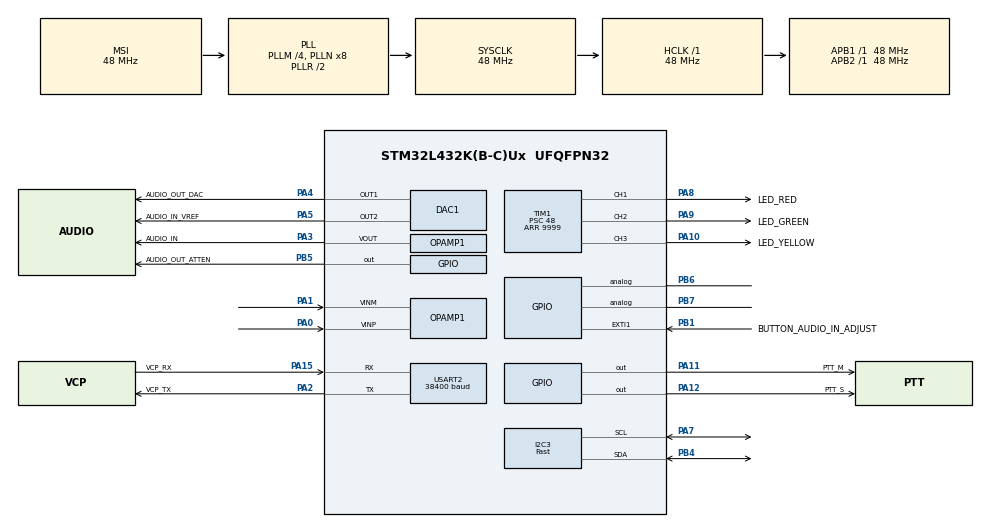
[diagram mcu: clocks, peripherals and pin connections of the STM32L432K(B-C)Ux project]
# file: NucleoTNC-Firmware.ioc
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ADC1.Channel-0\#ChannelRegularConversion=ADC_CHANNEL_8
ADC1.ClockPrescaler=ADC_CLOCK_ASYNC_DIV1
ADC1.ContinuousConvMode=DISABLE
ADC1.DMAContinuousRequests=ENABLE
ADC1.DataAlign=ADC_DATAALIGN_RIGHT
ADC1.DiscontinuousConvMode=DISABLE
ADC1.EOCSelection=ADC_EOC_SINGLE_CONV
ADC1.EnableAnalogWatchDog1=false
ADC1.EnableAnalogWatchDog2=false
ADC1.EnableAnalogWatchDog3=false
ADC1.EnableInjectedConversion=DISABLE
ADC1.EnableRegularConversion=ENABLE
ADC1.ExternalTrigConv=ADC_EXTERNALTRIG_T6_TRGO
ADC1.ExternalTrigConvEdge=ADC_EXTERNALTRIGCONVEDGE_RISING
ADC1.LowPowerAutoWait=DISABLE
ADC1.NbrOfConversion=1
ADC1.NbrOfConversionFlag=1
ADC1.OffsetNumber-0\#ChannelRegularConversion=ADC_OFFSET_NONE
ADC1.Overrun=ADC_OVR_DATA_OVERWRITTEN
ADC1.OversamplingMode=ENABLE
ADC1.OversamplingStopReset=ADC_REGOVERSAMPLING_CONTINUED_MODE
ADC1.Rank-0\#ChannelRegularConversion=1
ADC1.Ratio=ADC_OVERSAMPLING_RATIO_16
ADC1.Resolution=ADC_RESOLUTION_12B
ADC1.RightBitShift=ADC_RIGHTBITSHIFT_2
ADC1.SamplingTime-0\#ChannelRegularConversion=ADC_SAMPLETIME_6CYCLES_5
ADC1.ScanConvMode=ADC_SCAN_DISABLE
ADC1.TriggeredMode=ADC_TRIGGEREDMODE_SINGLE_TRIGGER
ADC1.master=1
CRC.CRCLength=CRC_POLYLENGTH_16B
CRC.DefaultInitValueUse=DEFAULT_INIT_VALUE_DISABLE
CRC.DefaultPolynomialUse=DEFAULT_POLYNOMIAL_DISABLE
CRC.GeneratingPolynomial=X12+X5+X0
CRC.InitValue=0xFFFF
CRC.InputDataInversionMode=CRC_INPUTDATA_INVERSION_BYTE
DAC1.DAC_Channel-DAC_OUT2=DAC_CHANNEL_2
DAC1.DAC_Trigger-DAC_OUT1=DAC_TRIGGER_T7_TRGO
Dma.ADC1.5.Direction=DMA_PERIPH_TO_MEMORY
Dma.ADC1.5.Instance=DMA1_Channel1
Dma.ADC1.5.MemDataAlignment=DMA_MDATAALIGN_HALFWORD
Dma.ADC1.5.MemInc=DMA_MINC_ENABLE
Dma.ADC1.5.Mode=DMA_CIRCULAR
Dma.ADC1.5.PeriphDataAlignment=DMA_PDATAALIGN_HALFWORD
Dma.ADC1.5.PeriphInc=DMA_PINC_DISABLE
Dma.ADC1.5.Priority=DMA_PRIORITY_LOW
Dma.DAC_CH1.4.Direction=DMA_MEMORY_TO_PERIPH
Dma.DAC_CH1.4.Instance=DMA2_Channel4
Dma.DAC_CH1.4.MemDataAlignment=DMA_MDATAALIGN_HALFWORD
Dma.DAC_CH1.4.MemInc=DMA_MINC_ENABLE
Dma.DAC_CH1.4.Mode=DMA_CIRCULAR
Dma.DAC_CH1.4.PeriphDataAlignment=DMA_PDATAALIGN_HALFWORD
Dma.DAC_CH1.4.PeriphInc=DMA_PINC_DISABLE
Dma.DAC_CH1.4.Priority=DMA_PRIORITY_LOW
Dma.I2C3_RX.0.Direction=DMA_PERIPH_TO_MEMORY
Dma.I2C3_RX.0.Instance=DMA1_Channel3
Dma.I2C3_RX.0.MemDataAlignment=DMA_MDATAALIGN_BYTE
Dma.I2C3_RX.0.MemInc=DMA_MINC_ENABLE
Dma.I2C3_RX.0.Mode=DMA_NORMAL
Dma.I2C3_RX.0.PeriphDataAlignment=DMA_PDATAALIGN_BYTE
Dma.I2C3_RX.0.PeriphInc=DMA_PINC_DISABLE
Dma.I2C3_RX.0.Priority=DMA_PRIORITY_LOW
Dma.I2C3_TX.1.Direction=DMA_MEMORY_TO_PERIPH
Dma.I2C3_TX.1.Instance=DMA1_Channel2
Dma.I2C3_TX.1.MemDataAlignment=DMA_MDATAALIGN_BYTE
Dma.I2C3_TX.1.MemInc=DMA_MINC_ENABLE
Dma.I2C3_TX.1.Mode=DMA_NORMAL
Dma.I2C3_TX.1.PeriphDataAlignment=DMA_PDATAALIGN_BYTE
Dma.I2C3_TX.1.PeriphInc=DMA_PINC_DISABLE
Dma.I2C3_TX.1.Priority=DMA_PRIORITY_LOW
Dma.Request0=I2C3_RX
Dma.Request1=I2C3_TX
Dma.Request2=USART2_RX
Dma.Request3=USART2_TX
Dma.Request4=DAC_CH1
Dma.Request5=ADC1
Dma.USART2_RX.2.Direction=DMA_PERIPH_TO_MEMORY
Dma.USART2_RX.2.Instance=DMA1_Channel6
Dma.USART2_RX.2.MemDataAlignment=DMA_MDATAALIGN_BYTE
Dma.USART2_RX.2.MemInc=DMA_MINC_ENABLE
Dma.USART2_RX.2.Mode=DMA_NORMAL
Dma.USART2_RX.2.PeriphDataAlignment=DMA_PDATAALIGN_BYTE
Dma.USART2_RX.2.PeriphInc=DMA_PINC_DISABLE
Dma.USART2_RX.2.Priority=DMA_PRIORITY_LOW
Dma.USART2_TX.3.Direction=DMA_MEMORY_TO_PERIPH
Dma.USART2_TX.3.Instance=DMA1_Channel7
Dma.USART2_TX.3.MemDataAlignment=DMA_MDATAALIGN_BYTE
Dma.USART2_TX.3.MemInc=DMA_MINC_ENABLE
Dma.USART2_TX.3.Mode=DMA_NORMAL
Dma.USART2_TX.3.PeriphDataAlignment=DMA_PDATAALIGN_BYTE
Dma.USART2_TX.3.PeriphInc=DMA_PINC_DISABLE
Dma.USART2_TX.3.Priority=DMA_PRIORITY_LOW
FREERTOS.HEAP_NUMBER=3
FREERTOS.MEMORY_ALLOCATION=2
FREERTOS.Queues01=ioEventQueue,16,uint32_t,0,Static,ioEventQueueBuffer,ioEventQueueControlBlock;serialInputQueue,16,uint32_t,0,Static,serialInputQueueBuffer,serialInputQueueControlBlock;serialOutputQueue,16,uint32_t,0,Static,serialOutputQueueBuffer,serialOutputQueueControlBlock;audioInputQueue,8,uint32_t,0,Static,audioInputQueueBuffer,audioInputQueueControlBlock;hdlcInputQueue,3,uint32_t,0,Static,hdlcInputQueueBuffer,hdlcInputQueueControlBlock;hdlcOutputQueue,3,uint32_t,0,Static,hdlcOutputQueueBuffer,hdlcOutputQueueControlBlock;dacOutputQueue,128,uint8_t,0,Static,dacOutputQueueBuffer,dacOutputQueueControlBlock;adcInputQueue,8,uint32_t,0,Static,adcInputQueueBuffer,adcInputQueueControlBlock
FREERTOS.Tasks01=ioEventTask,-2,384,startIOEventTask,As weak,NULL,Static,ioEventTaskBuffer,ioEventTaskControlBlock;audioInputTask,1,512,startAudioInputTask,As external,NULL,Static,audioInputTaskBuffer,audioInputTaskControlBlock;modulatorTask,1,384,startModulatorTask,As external,NULL,Static,modulatorTaskBuffer,modulatorTaskControlBlock
FREERTOS.configCHECK_FOR_STACK_OVERFLOW=1
FREERTOS.configENABLE_FPU=1
FREERTOS.configQUEUE_REGISTRY_SIZE=16
FREERTOS.configTOTAL_HEAP_SIZE=3000
FREERTOS.configUSE_MALLOC_FAILED_HOOK=1
FREERTOS.configUSE_NEWLIB_REENTRANT=1
FREERTOS.configUSE_TICKLESS_IDLE=2
FREERTOS.configUSE_TIMERS=1
I2C3.I2C_Speed_Mode=I2C_Fast
I2C3.Timing=0x00300617
IWDG.Prescaler=IWDG_PRESCALER_64
Mcu.Family=STM32L4
Mcu.Name=STM32L432K(B-C)Ux
Mcu.Package=UFQFPN32
Mcu.UserConstants=EEPROM_PAGE_SIZE,32;EEPROM_CAPACITY,4096;EEPROM_WRITE_TIME,10;EEPROM_ADDRESS,0xA0
NVIC.DMA1_Channel1_IRQn=true\:5\:0\:false\:false\:true\:true\:false\:true\:true
NVIC.DMA1_Channel2_IRQn=true\:5\:0\:false\:false\:true\:true\:false\:true\:true
NVIC.DMA1_Channel3_IRQn=true\:5\:0\:false\:false\:true\:true\:false\:true\:true
NVIC.DMA1_Channel6_IRQn=true\:5\:0\:false\:false\:true\:true\:false\:true\:true
NVIC.DMA1_Channel7_IRQn=true\:5\:0\:false\:false\:true\:true\:false\:true\:true
NVIC.DMA2_Channel4_IRQn=true\:5\:0\:false\:false\:true\:true\:false\:true\:true
NVIC.EXTI1_IRQn=true\:5\:0\:false\:false\:true\:true\:true\:true\:true
NVIC.PriorityGroup=NVIC_PRIORITYGROUP_4
NVIC.TIM1_BRK_TIM15_IRQn=true\:5\:0\:false\:false\:true\:false\:false\:true\:true
NVIC.TIM1_UP_TIM16_IRQn=true\:5\:0\:false\:false\:true\:false\:true\:true\:true
NVIC.TIM2_IRQn=true\:15\:0\:false\:false\:true\:false\:false\:true\:true
NVIC.TIM6_DAC_IRQn=true\:10\:0\:true\:false\:true\:false\:true\:false\:true
NVIC.TIM7_IRQn=true\:10\:0\:true\:false\:true\:false\:true\:false\:true
NVIC.TimeBase=TIM2_IRQn
NVIC.TimeBaseIP=TIM2
NVIC.USART2_IRQn=true\:6\:0\:true\:false\:true\:true\:true\:true\:true
OPAMP1.PowerSupplyRange=OPAMP_POWERSUPPLY_HIGH
PA0.Mode=PGA Connected
PA0.Signal=OPAMP1_VINP
PA1.Mode=PGA Connected
PA1.Signal=OPAMP1_VINM
PA10.GPIO_Label=LED_YELLOW
PA10.GPIO_ModeDefaultOutputPP=GPIO_MODE_OUTPUT_OD
PA10.GPIO_ModeDefaultPP=GPIO_MODE_AF_OD
PA10.PinState=GPIO_PIN_SET
PA10.Signal=SharedStack_PA10
PA10.Stacked=true
PA11.GPIO_Label=PTT_M
PA11.Signal=GPIO_Output
PA12.GPIO_Label=PTT_S
PA12.Signal=GPIO_Output
PA13\ (JTMS-SWDIO).GPIO_Label=SWDIO
PA13\ (JTMS-SWDIO).Mode=Trace_Asynchronous_SW
PA13\ (JTMS-SWDIO).Signal=SYS_JTMS-SWDIO
PA14\ (JTCK-SWCLK).GPIO_Label=SWCLK
PA14\ (JTCK-SWCLK).Mode=Trace_Asynchronous_SW
PA14\ (JTCK-SWCLK).Signal=SYS_JTCK-SWCLK
PA15\ (JTDI).GPIO_Label=VCP_RX
PA15\ (JTDI).Mode=Asynchronous
PA15\ (JTDI).Signal=USART2_RX
PA2.GPIO_Label=VCP_TX
PA2.Mode=Asynchronous
PA2.Signal=USART2_TX
PA3.GPIO_Label=AUDIO_IN
PA3.Signal=SharedAnalog_PA3
PA4.GPIO_Label=AUDIO_OUT_DAC
PA4.Signal=COMP_DAC11_group
PA5.GPIO_Label=AUDIO_IN_VREF
PA5.Signal=COMP_DAC12_group
PA7.GPIO_Pu=GPIO_NOPULL
PA7.Mode=I2C
PA7.Signal=I2C3_SCL
PA8.GPIO_Label=LED_RED
PA8.GPIO_ModeDefaultOutputPP=GPIO_MODE_OUTPUT_OD
PA8.GPIO_ModeDefaultPP=GPIO_MODE_AF_OD
PA8.PinState=GPIO_PIN_SET
PA8.Signal=SharedStack_PA8
PA8.Stacked=true
PA9.GPIO_Label=LED_GREEN
PA9.GPIO_ModeDefaultOutputPP=GPIO_MODE_OUTPUT_OD
PA9.GPIO_ModeDefaultPP=GPIO_MODE_AF_OD
PA9.PinState=GPIO_PIN_SET
PA9.Signal=SharedStack_PA9
PA9.Stacked=true
PB1.GPIO_Label=BUTTON_AUDIO_IN_ADJUST
PB1.GPIO_ModeDefaultEXTI=GPIO_MODE_IT_FALLING
PB1.GPIO_PuPd=GPIO_PULLUP
PB1.Signal=GPXTI1
PB3\ (JTDO-TRACESWO).Mode=Trace_Asynchronous_SW
PB3\ (JTDO-TRACESWO).Signal=SYS_JTDO-SWO
PB4\ (NJTRST).GPIO_Pu=GPIO_NOPULL
PB4\ (NJTRST).Mode=I2C
PB4\ (NJTRST).Signal=I2C3_SDA
PB5.GPIO_Label=AUDIO_OUT_ATTEN
PB5.GPIO_ModeDefaultOutputPP=GPIO_MODE_OUTPUT_OD
PB5.PinState=GPIO_PIN_SET
PB5.Signal=GPIO_Output
PB6.Signal=GPIO_Analog
PB7.Signal=GPIO_Analog
PC14-OSC32_IN\ (PC14).Mode=LSE-External-Oscillator
PC14-OSC32_IN\ (PC14).Signal=RCC_OSC32_IN
PC15-OSC32_OUT\ (PC15).Mode=LSE-External-Oscillator
PC15-OSC32_OUT\ (PC15).Signal=RCC_OSC32_OUT
ProjectManager.HeapSize=0x200
ProjectManager.StackSize=0x400
ProjectManager.TargetToolchain=CMake
RCC.ADCCLockSelection=RCC_ADCCLKSOURCE_SYSCLK
RCC.ADCFreq_Value=48000000
RCC.AHBFreq_Value=48000000
RCC.APB1Freq_Value=48000000
RCC.APB1TimFreq_Value=48000000
RCC.APB2Freq_Value=48000000
RCC.APB2TimFreq_Value=48000000
RCC.CK48CLockSelection=RCC_USBCLKSOURCE_HSI48
RCC.CortexFreq_Value=48000000
RCC.HCLKFreq_Value=48000000
RCC.HSE_VALUE=8000000
RCC.HSI16_VALUE=16000000
RCC.HSI48_VALUE=48000000
RCC.HSI_VALUE=16000000
RCC.I2C3CLockSelection=RCC_I2C3CLKSOURCE_HSI
RCC.MSIClockRange=RCC_MSIRANGE_11
RCC.MSI_VALUE=48000000
RCC.PLLM=4
RCC.PLLMUL=RCC_PLLMUL_4
RCC.PLLSAI1N=24
RCC.PLLSAI1Q=RCC_PLLQ_DIV6
RCC.PLLSAI1R=RCC_PLLR_DIV4
RCC.PREFETCH_ENABLE=1
RCC.RTCClockSelection=RCC_RTCCLKSOURCE_LSE
RCC.SYSCLKFreq_VALUE=48000000
RCC.SYSCLKSource=RCC_SYSCLKSOURCE_PLLCLK
RCC.USART2CLockSelection=RCC_USART2CLKSOURCE_HSI
RCC.USBFreq_Value=48000000
RCC.VCOOutputFreq_Value=96000000
SH.COMP_DAC11_group.0=DAC1_OUT1,DAC_OUT1
SH.COMP_DAC12_group.0=DAC1_OUT2,DAC_OUT2
SH.SharedAnalog_PA3.0=ADC1_IN8
SH.SharedAnalog_PA3.1=OPAMP1_VOUT,PGA Connected
SH.SharedStack_PA10.0=TIM1_CH3,PWM Generation3 CH3
SH.SharedStack_PA8.0=TIM1_CH1,PWM Generation1 CH1
SH.SharedStack_PA9.0=TIM1_CH2,PWM Generation2 CH2
STMicroelectronics.X-CUBE-ALGOBUILD.1.4.0.LibraryCcDSPOoLibraryJjDSPOoLibrary=true
TIM1.Channel-PWM\ Generation1\ CH1=TIM_CHANNEL_1
TIM1.Channel-PWM\ Generation2\ CH2=TIM_CHANNEL_2
TIM1.Channel-PWM\ Generation3\ CH3=TIM_CHANNEL_3
TIM1.OCIdleState_1=TIM_OCIDLESTATE_SET
TIM1.OCIdleState_2=TIM_OCIDLESTATE_SET
TIM1.OCIdleState_3=TIM_OCIDLESTATE_SET
TIM1.OCPolarity_1=TIM_OCPOLARITY_LOW
TIM1.OCPolarity_2=TIM_OCPOLARITY_LOW
TIM1.OCPolarity_3=TIM_OCPOLARITY_LOW
TIM1.Period=9999
TIM1.Prescaler=48
TIM6.AutoReloadPreload=TIM_AUTORELOAD_PRELOAD_ENABLE
TIM6.Period=1817
TIM6.TIM_MasterOutputTrigger=TIM_TRGO_UPDATE
TIM7.AutoReloadPreload=TIM_AUTORELOAD_PRELOAD_ENABLE
TIM7.Period=1817
TIM7.TIM_MasterOutputTrigger=TIM_TRGO_UPDATE
USART2.BaudRate=38400
USART2.VirtualMode-Asynchronous=VM_ASYNC
VP_ADC1_OPAMP1_OUT.Mode=IN8-OPAMP1-Single-Ended
VP_CRC_VS_CRC.Mode=CRC_Activate
VP_FREERTOS_VS_CMSIS_V1.Mode=CMSIS_V1
VP_IWDG_VS_IWDG.Mode=IWDG_Activate
VP_RCC_LSE.Mode=CRS SYNC Source LSE
VP_RNG_VS_RNG.Mode=RNG_Activate
VP_RTC_VS_RTC_Activate.Mode=RTC_Enabled
VP_RTC_VS_RTC_Calendar.Mode=RTC_Calendar
VP_STMicroelectronics.X-CUBE-ALGOBUILD_VS_DSPOoLibraryJjLibrary_1.4.0_1.4.0.Mode=DSPOoLibraryJjLibrary
VP_SYS_VS_tim2.Mode=TIM2
VP_TIM1_VS_ClockSourceINT.Mode=Internal
VP_TIM6_VS_ClockSourceINT.Mode=Enable_Timer
VP_TIM7_VS_ClockSourceINT.Mode=Enable_Timer
board=NUCLEO-L432KC

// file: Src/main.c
/* USER CODE BEGIN Header */
/**
  ******************************************************************************
  * @file           : main.c
  * @brief          : Main program body
  ******************************************************************************
  * @attention
  *
  * Copyright (c) 2024 STMicroelectronics.
  * All rights reserved.
  *
  * This software is licensed under terms that can be found in the LICENSE file
  * in the root directory of this software component.
  * If no LICENSE file comes with this software, it is provided AS-IS.
  *
  ******************************************************************************
  */
/* USER CODE END Header */
#include "main.h"
#include "cmsis_os.h"

/* USER CODE BEGIN Includes */
#include "LEDIndicator.h"
#include "Log.h"
#include <stdint.h>
/* USER CODE END Includes */

ADC_HandleTypeDef hadc1;
DMA_HandleTypeDef hdma_adc1;

CRC_HandleTypeDef hcrc;

DAC_HandleTypeDef hdac1;
DMA_HandleTypeDef hdma_dac_ch1;

I2C_HandleTypeDef hi2c3;
DMA_HandleTypeDef hdma_i2c3_rx;
DMA_HandleTypeDef hdma_i2c3_tx;

IWDG_HandleTypeDef hiwdg;

OPAMP_HandleTypeDef hopamp1;

RNG_HandleTypeDef hrng;

RTC_HandleTypeDef hrtc;

TIM_HandleTypeDef htim1;
TIM_HandleTypeDef htim6;
TIM_HandleTypeDef htim7;

UART_HandleTypeDef huart2;
DMA_HandleTypeDef hdma_usart2_rx;
DMA_HandleTypeDef hdma_usart2_tx;

osThreadId ioEventTaskHandle;
uint32_t ioEventTaskBuffer[ 384 ];
osStaticThreadDef_t ioEventTaskControlBlock;
osThreadId audioInputTaskHandle;
uint32_t audioInputTaskBuffer[ 512 ];
osStaticThreadDef_t audioInputTaskControlBlock;
osThreadId modulatorTaskHandle;
uint32_t modulatorTaskBuffer[ 384 ];
osStaticThreadDef_t modulatorTaskControlBlock;
osMessageQId ioEventQueueHandle;
uint8_t ioEventQueueBuffer[ 16 * sizeof( uint32_t ) ];
osStaticMessageQDef_t ioEventQueueControlBlock;
osMessageQId serialInputQueueHandle;
uint8_t serialInputQueueBuffer[ 16 * sizeof( uint32_t ) ];
osStaticMessageQDef_t serialInputQueueControlBlock;
osMessageQId serialOutputQueueHandle;
uint8_t serialOutputQueueBuffer[ 16 * sizeof( uint32_t ) ];
osStaticMessageQDef_t serialOutputQueueControlBlock;
osMessageQId audioInputQueueHandle;
uint8_t audioInputQueueBuffer[ 8 * sizeof( uint32_t ) ];
osStaticMessageQDef_t audioInputQueueControlBlock;
osMessageQId hdlcInputQueueHandle;
uint8_t hdlcInputQueueBuffer[ 3 * sizeof( uint32_t ) ];
osStaticMessageQDef_t hdlcInputQueueControlBlock;
osMessageQId hdlcOutputQueueHandle;
uint8_t hdlcOutputQueueBuffer[ 3 * sizeof( uint32_t ) ];
osStaticMessageQDef_t hdlcOutputQueueControlBlock;
osMessageQId dacOutputQueueHandle;
uint8_t dacOutputQueueBuffer[ 128 * sizeof( uint8_t ) ];
osStaticMessageQDef_t dacOutputQueueControlBlock;
osMessageQId adcInputQueueHandle;
uint8_t adcInputQueueBuffer[ 8 * sizeof( uint32_t ) ];
osStaticMessageQDef_t adcInputQueueControlBlock;
/* USER CODE BEGIN PV */
/* Private variables ---------------------------------------------------------*/

char serial_number_64[13] = {0};
char error_message[80] __attribute__((section(".bss3"))) = {0};

/* USER CODE END PV */

void SystemClock_Config(void);
static void MX_GPIO_Init(void);
static void MX_DMA_Init(void);
static void MX_ADC1_Init(void);
static void MX_CRC_Init(void);
static void MX_DAC1_Init(void);
static void MX_OPAMP1_Init(void);
static void MX_RTC_Init(void);
static void MX_TIM6_Init(void);
static void MX_TIM7_Init(void);
static void MX_USART2_UART_Init(void);
static void MX_I2C3_Init(void);
static void MX_TIM1_Init(void);
static void MX_RNG_Init(void);
static void MX_IWDG_Init(void);
void startIOEventTask(void const * argument);
extern void startAudioInputTask(void const * argument);
extern void startModulatorTask(void const * argument);

/* USER CODE BEGIN PFP */
/* Private function prototypes -----------------------------------------------*/

/* USER CODE END PFP */

/* USER CODE BEGIN 0 */

/*
 * Same algorithm as here: https://github.com/libopencm3/libopencm3/blob/master/lib/stm32/desig.c
 */

void encode_serial_number()
{
    uint8_t *uid = (uint8_t *)UID_BASE;

    uint8_t serial[6];
    serial[0] = uid[11];
    serial[1] = uid[10] + uid[2];
    serial[2] = uid[9];
    serial[3] = uid[8] + uid[0];
    serial[4] = uid[7];
    serial[5] = uid[6];

    snprintf(
        serial_number_64,
        sizeof(serial_number_64),
        "%02X%02X%02X%02X%02X%02X",
        serial[0], serial[1], serial[2],
        serial[3], serial[4], serial[5]
    );
}

/* USER CODE END 0 */

int main(void)
{

  /* USER CODE BEGIN 1 */
  __HAL_DBGMCU_FREEZE_IWDG();
  /* USER CODE END 1 */

  /* MCU Configuration--------------------------------------------------------*/

  /* Reset of all peripherals, Initializes the Flash interface and the Systick. */
  HAL_Init();

  /* USER CODE BEGIN Init */
  __HAL_RCC_CLEAR_RESET_FLAGS();
  /* USER CODE END Init */

  /* Configure the system clock */
  SystemClock_Config();

  /* USER CODE BEGIN SysInit */
  TPI->ACPR = 23;

  /* USER CODE END SysInit */

  /* Initialize all configured peripherals */
  MX_GPIO_Init();
  MX_DMA_Init();
  MX_ADC1_Init();
  MX_CRC_Init();
  MX_DAC1_Init();
  MX_OPAMP1_Init();
  MX_RTC_Init();
  MX_TIM6_Init();
  MX_TIM7_Init();
  MX_USART2_UART_Init();
  MX_I2C3_Init();
  MX_TIM1_Init();
  MX_RNG_Init();
  MX_IWDG_Init();
  /* USER CODE BEGIN 2 */
#ifdef KISS_LOGGING
  printf("start\r\n");
  if (error_message[0] != 0) {
      printf(error_message);
      error_message[0] = 0;
  }
#endif
  indicate_turning_on();
  encode_serial_number();

  if (HAL_DAC_SetValue(&hdac1, DAC_CHANNEL_2, DAC_ALIGN_12B_R, 2048) != HAL_OK) Error_Handler();
  if (HAL_DAC_Start(&hdac1, DAC_CHANNEL_2) != HAL_OK) Error_Handler();
  if (HAL_OPAMP_SelfCalibrate(&hopamp1) != HAL_OK) Error_Handler();
  if (HAL_OPAMP_Start(&hopamp1) != HAL_OK) Error_Handler();
  if (HAL_ADCEx_Calibration_Start(&hadc1, ADC_SINGLE_ENDED) != HAL_OK) Error_Handler();

  FLASH_OBProgramInitTypeDef obInit = {0};
  HAL_FLASHEx_OBGetConfig(&obInit);

  if ((obInit.OptionType & OPTIONBYTE_USER) == RESET) {
    printf("FAIL: option byte init\r\n");
    Error_Handler();
  }

#if 1
  // Do not erase SRAM2 during reset.
  if ((obInit.USERConfig & FLASH_OPTR_SRAM2_RST) == RESET) {
    obInit.OptionType = OPTIONBYTE_USER;
    obInit.USERType = OB_USER_SRAM2_RST;
    obInit.USERConfig = FLASH_OPTR_SRAM2_RST;
    HAL_FLASH_OB_Unlock();
    HAL_FLASHEx_OBProgram(&obInit);
    HAL_FLASH_OB_Lock();
    HAL_FLASH_OB_Launch();
  }
#endif

#if 1
  // Enable hardware parity check on SRAM2
  if ((obInit.USERConfig & FLASH_OPTR_SRAM2_PE) == RESET) {
    obInit.OptionType = OPTIONBYTE_USER;
    obInit.USERType = OB_USER_SRAM2_PE;
    obInit.USERConfig = FLASH_OPTR_SRAM2_PE;
    HAL_FLASH_OB_Unlock();
    HAL_FLASHEx_OBProgram(&obInit);
    HAL_FLASH_OB_Lock();
    HAL_FLASH_OB_Launch();
  }
#endif
  /* USER CODE END 2 */

  /* USER CODE BEGIN RTOS_SEMAPHORES */
  /* add semaphores, ... */
#pragma GCC diagnostic push
#pragma GCC diagnostic ignored "-Wwrite-strings"    // cmsis-os is not const-correct.
  /* USER CODE END RTOS_SEMAPHORES */

  /* Create the queue(s) */
  /* definition and creation of ioEventQueue */
  osMessageQStaticDef(ioEventQueue, 16, uint32_t, ioEventQueueBuffer, &ioEventQueueControlBlock);
  ioEventQueueHandle = osMessageCreate(osMessageQ(ioEventQueue), NULL);

  /* definition and creation of serialInputQueue */
  osMessageQStaticDef(serialInputQueue, 16, uint32_t, serialInputQueueBuffer, &serialInputQueueControlBlock);
  serialInputQueueHandle = osMessageCreate(osMessageQ(serialInputQueue), NULL);

  /* definition and creation of serialOutputQueue */
  osMessageQStaticDef(serialOutputQueue, 16, uint32_t, serialOutputQueueBuffer, &serialOutputQueueControlBlock);
  serialOutputQueueHandle = osMessageCreate(osMessageQ(serialOutputQueue), NULL);

  /* definition and creation of audioInputQueue */
  osMessageQStaticDef(audioInputQueue, 8, uint32_t, audioInputQueueBuffer, &audioInputQueueControlBlock);
  audioInputQueueHandle = osMessageCreate(osMessageQ(audioInputQueue), NULL);

  /* definition and creation of hdlcInputQueue */
  osMessageQStaticDef(hdlcInputQueue, 3, uint32_t, hdlcInputQueueBuffer, &hdlcInputQueueControlBlock);
  hdlcInputQueueHandle = osMessageCreate(osMessageQ(hdlcInputQueue), NULL);

  /* definition and creation of hdlcOutputQueue */
  osMessageQStaticDef(hdlcOutputQueue, 3, uint32_t, hdlcOutputQueueBuffer, &hdlcOutputQueueControlBlock);
  hdlcOutputQueueHandle = osMessageCreate(osMessageQ(hdlcOutputQueue), NULL);

  /* definition and creation of dacOutputQueue */
  osMessageQStaticDef(dacOutputQueue, 128, uint8_t, dacOutputQueueBuffer, &dacOutputQueueControlBlock);
  dacOutputQueueHandle = osMessageCreate(osMessageQ(dacOutputQueue), NULL);

  /* definition and creation of adcInputQueue */
  osMessageQStaticDef(adcInputQueue, 8, uint32_t, adcInputQueueBuffer, &adcInputQueueControlBlock);
  adcInputQueueHandle = osMessageCreate(osMessageQ(adcInputQueue), NULL);

  /* USER CODE BEGIN RTOS_QUEUES */
  /* add queues, ... */
#pragma GCC diagnostic pop

  /* USER CODE END RTOS_QUEUES */

  /* Create the thread(s) */
  /* definition and creation of ioEventTask */
  osThreadStaticDef(ioEventTask, startIOEventTask, osPriorityLow, 0, 384, ioEventTaskBuffer, &ioEventTaskControlBlock);
  ioEventTaskHandle = osThreadCreate(osThread(ioEventTask), NULL);

  /* definition and creation of audioInputTask */
  osThreadStaticDef(audioInputTask, startAudioInputTask, osPriorityAboveNormal, 0, 512, audioInputTaskBuffer, &audioInputTaskControlBlock);
  audioInputTaskHandle = osThreadCreate(osThread(audioInputTask), NULL);

  /* definition and creation of modulatorTask */
  osThreadStaticDef(modulatorTask, startModulatorTask, osPriorityAboveNormal, 0, 384, modulatorTaskBuffer, &modulatorTaskControlBlock);
  modulatorTaskHandle = osThreadCreate(osThread(modulatorTask), NULL);

  /* USER CODE BEGIN RTOS_THREADS */
  /* add threads, ... */
  osThreadSuspend(modulatorTaskHandle);
  osThreadSuspend(audioInputTaskHandle);

  /* USER CODE END RTOS_THREADS */

  /* Start scheduler */
  osKernelStart();

  /* We should never get here as control is now taken by the scheduler */

  /* Infinite loop */
  while (1)
  {

  }
}

void SystemClock_Config(void)
{
  RCC_OscInitTypeDef RCC_OscInitStruct = {0};
  RCC_ClkInitTypeDef RCC_ClkInitStruct = {0};
  RCC_CRSInitTypeDef RCC_CRSInitStruct = {0};

  /** Configure the main internal regulator output voltage
  */
  if (HAL_PWREx_ControlVoltageScaling(PWR_REGULATOR_VOLTAGE_SCALE1) != HAL_OK)
  {
    Error_Handler();
  }

  /** Configure LSE Drive Capability
  */
  HAL_PWR_EnableBkUpAccess();
  __HAL_RCC_LSEDRIVE_CONFIG(RCC_LSEDRIVE_LOW);

  /** Initializes the RCC Oscillators according to the specified parameters
  * in the RCC_OscInitTypeDef structure.
  */
  RCC_OscInitStruct.OscillatorType = RCC_OSCILLATORTYPE_HSI48|RCC_OSCILLATORTYPE_HSI
                              |RCC_OSCILLATORTYPE_LSI|RCC_OSCILLATORTYPE_LSE
                              |RCC_OSCILLATORTYPE_MSI;
  RCC_OscInitStruct.LSEState = RCC_LSE_ON;
  RCC_OscInitStruct.HSIState = RCC_HSI_ON;
  RCC_OscInitStruct.HSI48State = RCC_HSI48_ON;
  RCC_OscInitStruct.HSICalibrationValue = RCC_HSICALIBRATION_DEFAULT;
  RCC_OscInitStruct.LSIState = RCC_LSI_ON;
  RCC_OscInitStruct.MSIState = RCC_MSI_ON;
  RCC_OscInitStruct.MSICalibrationValue = 0;
  RCC_OscInitStruct.MSIClockRange = RCC_MSIRANGE_11;
  RCC_OscInitStruct.PLL.PLLState = RCC_PLL_ON;
  RCC_OscInitStruct.PLL.PLLSource = RCC_PLLSOURCE_MSI;
  RCC_OscInitStruct.PLL.PLLM = 4;
  RCC_OscInitStruct.PLL.PLLN = 8;
  RCC_OscInitStruct.PLL.PLLP = RCC_PLLP_DIV7;
  RCC_OscInitStruct.PLL.PLLQ = RCC_PLLQ_DIV2;
  RCC_OscInitStruct.PLL.PLLR = RCC_PLLR_DIV2;
  if (HAL_RCC_OscConfig(&RCC_OscInitStruct) != HAL_OK)
  {
    Error_Handler();
  }

  /** Initializes the CPU, AHB and APB buses clocks
  */
  RCC_ClkInitStruct.ClockType = RCC_CLOCKTYPE_HCLK|RCC_CLOCKTYPE_SYSCLK
                              |RCC_CLOCKTYPE_PCLK1|RCC_CLOCKTYPE_PCLK2;
  RCC_ClkInitStruct.SYSCLKSource = RCC_SYSCLKSOURCE_PLLCLK;
  RCC_ClkInitStruct.AHBCLKDivider = RCC_SYSCLK_DIV1;
  RCC_ClkInitStruct.APB1CLKDivider = RCC_HCLK_DIV1;
  RCC_ClkInitStruct.APB2CLKDivider = RCC_HCLK_DIV1;

  if (HAL_RCC_ClockConfig(&RCC_ClkInitStruct, FLASH_LATENCY_2) != HAL_OK)
  {
    Error_Handler();
  }

  /** Enable MSI Auto calibration
  */
  HAL_RCCEx_EnableMSIPLLMode();

  /** Enable the SYSCFG APB clock
  */
  __HAL_RCC_CRS_CLK_ENABLE();

  /** Configures CRS
  */
  RCC_CRSInitStruct.Prescaler = RCC_CRS_SYNC_DIV1;
  RCC_CRSInitStruct.Source = RCC_CRS_SYNC_SOURCE_LSE;
  RCC_CRSInitStruct.Polarity = RCC_CRS_SYNC_POLARITY_RISING;
  RCC_CRSInitStruct.ReloadValue = __HAL_RCC_CRS_RELOADVALUE_CALCULATE(48000000,32768);
  RCC_CRSInitStruct.ErrorLimitValue = 34;
  RCC_CRSInitStruct.HSI48CalibrationValue = 32;

  HAL_RCCEx_CRSConfig(&RCC_CRSInitStruct);
}

static void MX_ADC1_Init(void)
{

  ADC_ChannelConfTypeDef sConfig = {0};

  /** Common config
  */
  hadc1.Instance = ADC1;
  hadc1.Init.ClockPrescaler = ADC_CLOCK_ASYNC_DIV1;
  hadc1.Init.Resolution = ADC_RESOLUTION_12B;
  hadc1.Init.DataAlign = ADC_DATAALIGN_RIGHT;
  hadc1.Init.ScanConvMode = ADC_SCAN_DISABLE;
  hadc1.Init.EOCSelection = ADC_EOC_SINGLE_CONV;
  hadc1.Init.LowPowerAutoWait = DISABLE;
  hadc1.Init.ContinuousConvMode = DISABLE;
  hadc1.Init.NbrOfConversion = 1;
  hadc1.Init.DiscontinuousConvMode = DISABLE;
  hadc1.Init.ExternalTrigConv = ADC_EXTERNALTRIG_T6_TRGO;
  hadc1.Init.ExternalTrigConvEdge = ADC_EXTERNALTRIGCONVEDGE_RISING;
  hadc1.Init.DMAContinuousRequests = ENABLE;
  hadc1.Init.Overrun = ADC_OVR_DATA_OVERWRITTEN;
  hadc1.Init.OversamplingMode = ENABLE;
  hadc1.Init.Oversampling.Ratio = ADC_OVERSAMPLING_RATIO_16;
  hadc1.Init.Oversampling.RightBitShift = ADC_RIGHTBITSHIFT_2;
  hadc1.Init.Oversampling.TriggeredMode = ADC_TRIGGEREDMODE_SINGLE_TRIGGER;
  hadc1.Init.Oversampling.OversamplingStopReset = ADC_REGOVERSAMPLING_CONTINUED_MODE;
  if (HAL_ADC_Init(&hadc1) != HAL_OK)
  {
    Error_Handler();
  }

  /** Configure Regular Channel
  */
  sConfig.Channel = ADC_CHANNEL_8;
  sConfig.Rank = ADC_REGULAR_RANK_1;
  sConfig.SamplingTime = ADC_SAMPLETIME_6CYCLES_5;
  sConfig.SingleDiff = ADC_SINGLE_ENDED;
  sConfig.OffsetNumber = ADC_OFFSET_NONE;
  sConfig.Offset = 0;
  if (HAL_ADC_ConfigChannel(&hadc1, &sConfig) != HAL_OK)
  {
    Error_Handler();
  }

}

static void MX_CRC_Init(void)
{

  hcrc.Instance = CRC;
  hcrc.Init.DefaultPolynomialUse = DEFAULT_POLYNOMIAL_DISABLE;
  hcrc.Init.DefaultInitValueUse = DEFAULT_INIT_VALUE_DISABLE;
  hcrc.Init.GeneratingPolynomial = 4129;
  hcrc.Init.CRCLength = CRC_POLYLENGTH_16B;
  hcrc.Init.InitValue = 0xFFFF;
  hcrc.Init.InputDataInversionMode = CRC_INPUTDATA_INVERSION_BYTE;
  hcrc.Init.OutputDataInversionMode = CRC_OUTPUTDATA_INVERSION_DISABLE;
  hcrc.InputDataFormat = CRC_INPUTDATA_FORMAT_BYTES;
  if (HAL_CRC_Init(&hcrc) != HAL_OK)
  {
    Error_Handler();
  }

}

static void MX_DAC1_Init(void)
{

  DAC_ChannelConfTypeDef sConfig = {0};

  /** DAC Initialization
  */
  hdac1.Instance = DAC1;
  if (HAL_DAC_Init(&hdac1) != HAL_OK)
  {
    Error_Handler();
  }

  /** DAC channel OUT1 config
  */
  sConfig.DAC_SampleAndHold = DAC_SAMPLEANDHOLD_DISABLE;
  sConfig.DAC_Trigger = DAC_TRIGGER_T7_TRGO;
  sConfig.DAC_OutputBuffer = DAC_OUTPUTBUFFER_ENABLE;
  sConfig.DAC_ConnectOnChipPeripheral = DAC_CHIPCONNECT_DISABLE;
  sConfig.DAC_UserTrimming = DAC_TRIMMING_FACTORY;
  if (HAL_DAC_ConfigChannel(&hdac1, &sConfig, DAC_CHANNEL_1) != HAL_OK)
  {
    Error_Handler();
  }

  /** DAC channel OUT2 config
  */
  sConfig.DAC_Trigger = DAC_TRIGGER_NONE;
  if (HAL_DAC_ConfigChannel(&hdac1, &sConfig, DAC_CHANNEL_2) != HAL_OK)
  {
    Error_Handler();
  }

}

static void MX_I2C3_Init(void)
{

  hi2c3.Instance = I2C3;
  hi2c3.Init.Timing = 0x00300617;
  hi2c3.Init.OwnAddress1 = 0;
  hi2c3.Init.AddressingMode = I2C_ADDRESSINGMODE_7BIT;
  hi2c3.Init.DualAddressMode = I2C_DUALADDRESS_DISABLE;
  hi2c3.Init.OwnAddress2 = 0;
  hi2c3.Init.OwnAddress2Masks = I2C_OA2_NOMASK;
  hi2c3.Init.GeneralCallMode = I2C_GENERALCALL_DISABLE;
  hi2c3.Init.NoStretchMode = I2C_NOSTRETCH_DISABLE;
  if (HAL_I2C_Init(&hi2c3) != HAL_OK)
  {
    Error_Handler();
  }

  /** Configure Analogue filter
  */
  if (HAL_I2CEx_ConfigAnalogFilter(&hi2c3, I2C_ANALOGFILTER_ENABLE) != HAL_OK)
  {
    Error_Handler();
  }

  /** Configure Digital filter
  */
  if (HAL_I2CEx_ConfigDigitalFilter(&hi2c3, 0) != HAL_OK)
  {
    Error_Handler();
  }

}

static void MX_IWDG_Init(void)
{

  hiwdg.Instance = IWDG;
  hiwdg.Init.Prescaler = IWDG_PRESCALER_64;
  hiwdg.Init.Window = 4095;
  hiwdg.Init.Reload = 4095;
  if (HAL_IWDG_Init(&hiwdg) != HAL_OK)
  {
    Error_Handler();
  }

}

static void MX_OPAMP1_Init(void)
{

  hopamp1.Instance = OPAMP1;
  hopamp1.Init.PowerSupplyRange = OPAMP_POWERSUPPLY_HIGH;
  hopamp1.Init.Mode = OPAMP_PGA_MODE;
  hopamp1.Init.NonInvertingInput = OPAMP_NONINVERTINGINPUT_IO0;
  hopamp1.Init.InvertingInput = OPAMP_INVERTINGINPUT_IO0;
  hopamp1.Init.PgaGain = OPAMP_PGA_GAIN_2;
  hopamp1.Init.PowerMode = OPAMP_POWERMODE_NORMALPOWER;
  hopamp1.Init.UserTrimming = OPAMP_TRIMMING_FACTORY;
  if (HAL_OPAMP_Init(&hopamp1) != HAL_OK)
  {
    Error_Handler();
  }

}

static void MX_RNG_Init(void)
{

  hrng.Instance = RNG;
  if (HAL_RNG_Init(&hrng) != HAL_OK)
  {
    Error_Handler();
  }

}

static void MX_RTC_Init(void)
{

  RTC_TimeTypeDef sTime = {0};
  RTC_DateTypeDef sDate = {0};

  /** Initialize RTC Only
  */
  hrtc.Instance = RTC;
  hrtc.Init.HourFormat = RTC_HOURFORMAT_24;
  hrtc.Init.AsynchPrediv = 127;
  hrtc.Init.SynchPrediv = 255;
  hrtc.Init.OutPut = RTC_OUTPUT_DISABLE;
  hrtc.Init.OutPutRemap = RTC_OUTPUT_REMAP_NONE;
  hrtc.Init.OutPutPolarity = RTC_OUTPUT_POLARITY_HIGH;
  hrtc.Init.OutPutType = RTC_OUTPUT_TYPE_OPENDRAIN;
  if (HAL_RTC_Init(&hrtc) != HAL_OK)
  {
    Error_Handler();
  }

  /** Initialize RTC and set the Time and Date
  */
  sTime.Hours = 0x0;
  sTime.Minutes = 0x0;
  sTime.Seconds = 0x0;
  sTime.DayLightSaving = RTC_DAYLIGHTSAVING_NONE;
  sTime.StoreOperation = RTC_STOREOPERATION_RESET;
  if (HAL_RTC_SetTime(&hrtc, &sTime, RTC_FORMAT_BCD) != HAL_OK)
  {
    Error_Handler();
  }
  sDate.WeekDay = RTC_WEEKDAY_MONDAY;
  sDate.Month = RTC_MONTH_JANUARY;
  sDate.Date = 0x1;
  sDate.Year = 0x0;

  if (HAL_RTC_SetDate(&hrtc, &sDate, RTC_FORMAT_BCD) != HAL_OK)
  {
    Error_Handler();
  }

}

static void MX_TIM1_Init(void)
{

  TIM_ClockConfigTypeDef sClockSourceConfig = {0};
  TIM_MasterConfigTypeDef sMasterConfig = {0};
  TIM_OC_InitTypeDef sConfigOC = {0};
  TIM_BreakDeadTimeConfigTypeDef sBreakDeadTimeConfig = {0};

  htim1.Instance = TIM1;
  htim1.Init.Prescaler = 48;
  htim1.Init.CounterMode = TIM_COUNTERMODE_UP;
  htim1.Init.Period = 9999;
  htim1.Init.ClockDivision = TIM_CLOCKDIVISION_DIV1;
  htim1.Init.RepetitionCounter = 0;
  htim1.Init.AutoReloadPreload = TIM_AUTORELOAD_PRELOAD_DISABLE;
  if (HAL_TIM_Base_Init(&htim1) != HAL_OK)
  {
    Error_Handler();
  }
  sClockSourceConfig.ClockSource = TIM_CLOCKSOURCE_INTERNAL;
  if (HAL_TIM_ConfigClockSource(&htim1, &sClockSourceConfig) != HAL_OK)
  {
    Error_Handler();
  }
  if (HAL_TIM_PWM_Init(&htim1) != HAL_OK)
  {
    Error_Handler();
  }
  sMasterConfig.MasterOutputTrigger = TIM_TRGO_RESET;
  sMasterConfig.MasterOutputTrigger2 = TIM_TRGO2_RESET;
  sMasterConfig.MasterSlaveMode = TIM_MASTERSLAVEMODE_DISABLE;
  if (HAL_TIMEx_MasterConfigSynchronization(&htim1, &sMasterConfig) != HAL_OK)
  {
    Error_Handler();
  }
  sConfigOC.OCMode = TIM_OCMODE_PWM1;
  sConfigOC.Pulse = 0;
  sConfigOC.OCPolarity = TIM_OCPOLARITY_LOW;
  sConfigOC.OCNPolarity = TIM_OCNPOLARITY_HIGH;
  sConfigOC.OCFastMode = TIM_OCFAST_DISABLE;
  sConfigOC.OCIdleState = TIM_OCIDLESTATE_SET;
  sConfigOC.OCNIdleState = TIM_OCNIDLESTATE_RESET;
  if (HAL_TIM_PWM_ConfigChannel(&htim1, &sConfigOC, TIM_CHANNEL_1) != HAL_OK)
  {
    Error_Handler();
  }
  if (HAL_TIM_PWM_ConfigChannel(&htim1, &sConfigOC, TIM_CHANNEL_2) != HAL_OK)
  {
    Error_Handler();
  }
  if (HAL_TIM_PWM_ConfigChannel(&htim1, &sConfigOC, TIM_CHANNEL_3) != HAL_OK)
  {
    Error_Handler();
  }
  sBreakDeadTimeConfig.OffStateRunMode = TIM_OSSR_DISABLE;
  sBreakDeadTimeConfig.OffStateIDLEMode = TIM_OSSI_DISABLE;
  sBreakDeadTimeConfig.LockLevel = TIM_LOCKLEVEL_OFF;
  sBreakDeadTimeConfig.DeadTime = 0;
  sBreakDeadTimeConfig.BreakState = TIM_BREAK_DISABLE;
  sBreakDeadTimeConfig.BreakPolarity = TIM_BREAKPOLARITY_HIGH;
  sBreakDeadTimeConfig.BreakFilter = 0;
  sBreakDeadTimeConfig.Break2State = TIM_BREAK2_DISABLE;
  sBreakDeadTimeConfig.Break2Polarity = TIM_BREAK2POLARITY_HIGH;
  sBreakDeadTimeConfig.Break2Filter = 0;
  sBreakDeadTimeConfig.AutomaticOutput = TIM_AUTOMATICOUTPUT_DISABLE;
  if (HAL_TIMEx_ConfigBreakDeadTime(&htim1, &sBreakDeadTimeConfig) != HAL_OK)
  {
    Error_Handler();
  }
  HAL_TIM_MspPostInit(&htim1);

}

static void MX_TIM6_Init(void)
{

  TIM_MasterConfigTypeDef sMasterConfig = {0};

  htim6.Instance = TIM6;
  htim6.Init.Prescaler = 0;
  htim6.Init.CounterMode = TIM_COUNTERMODE_UP;
  htim6.Init.Period = 1817;
  htim6.Init.AutoReloadPreload = TIM_AUTORELOAD_PRELOAD_ENABLE;
  if (HAL_TIM_Base_Init(&htim6) != HAL_OK)
  {
    Error_Handler();
  }
  sMasterConfig.MasterOutputTrigger = TIM_TRGO_UPDATE;
  sMasterConfig.MasterSlaveMode = TIM_MASTERSLAVEMODE_DISABLE;
  if (HAL_TIMEx_MasterConfigSynchronization(&htim6, &sMasterConfig) != HAL_OK)
  {
    Error_Handler();
  }

}

static void MX_TIM7_Init(void)
{

  TIM_MasterConfigTypeDef sMasterConfig = {0};

  htim7.Instance = TIM7;
  htim7.Init.Prescaler = 0;
  htim7.Init.CounterMode = TIM_COUNTERMODE_UP;
  htim7.Init.Period = 1817;
  htim7.Init.AutoReloadPreload = TIM_AUTORELOAD_PRELOAD_ENABLE;
  if (HAL_TIM_Base_Init(&htim7) != HAL_OK)
  {
    Error_Handler();
  }
  sMasterConfig.MasterOutputTrigger = TIM_TRGO_UPDATE;
  sMasterConfig.MasterSlaveMode = TIM_MASTERSLAVEMODE_DISABLE;
  if (HAL_TIMEx_MasterConfigSynchronization(&htim7, &sMasterConfig) != HAL_OK)
  {
    Error_Handler();
  }

}

static void MX_USART2_UART_Init(void)
{

  huart2.Instance = USART2;
  huart2.Init.BaudRate = 38400;
  huart2.Init.WordLength = UART_WORDLENGTH_8B;
  huart2.Init.StopBits = UART_STOPBITS_1;
  huart2.Init.Parity = UART_PARITY_NONE;
  huart2.Init.Mode = UART_MODE_TX_RX;
  huart2.Init.HwFlowCtl = UART_HWCONTROL_NONE;
  huart2.Init.OverSampling = UART_OVERSAMPLING_16;
  huart2.Init.OneBitSampling = UART_ONE_BIT_SAMPLE_DISABLE;
  huart2.AdvancedInit.AdvFeatureInit = UART_ADVFEATURE_NO_INIT;
  if (HAL_UART_Init(&huart2) != HAL_OK)
  {
    Error_Handler();
  }

}

static void MX_DMA_Init(void)
{

  /* DMA controller clock enable */
  __HAL_RCC_DMA1_CLK_ENABLE();
  __HAL_RCC_DMA2_CLK_ENABLE();

  /* DMA interrupt init */
  /* DMA1_Channel1_IRQn interrupt configuration */
  HAL_NVIC_SetPriority(DMA1_Channel1_IRQn, 5, 0);
  HAL_NVIC_EnableIRQ(DMA1_Channel1_IRQn);
  /* DMA1_Channel2_IRQn interrupt configuration */
  HAL_NVIC_SetPriority(DMA1_Channel2_IRQn, 5, 0);
  HAL_NVIC_EnableIRQ(DMA1_Channel2_IRQn);
  /* DMA1_Channel3_IRQn interrupt configuration */
  HAL_NVIC_SetPriority(DMA1_Channel3_IRQn, 5, 0);
  HAL_NVIC_EnableIRQ(DMA1_Channel3_IRQn);
  /* DMA1_Channel6_IRQn interrupt configuration */
  HAL_NVIC_SetPriority(DMA1_Channel6_IRQn, 5, 0);
  HAL_NVIC_EnableIRQ(DMA1_Channel6_IRQn);
  /* DMA1_Channel7_IRQn interrupt configuration */
  HAL_NVIC_SetPriority(DMA1_Channel7_IRQn, 5, 0);
  HAL_NVIC_EnableIRQ(DMA1_Channel7_IRQn);
  /* DMA2_Channel4_IRQn interrupt configuration */
  HAL_NVIC_SetPriority(DMA2_Channel4_IRQn, 5, 0);
  HAL_NVIC_EnableIRQ(DMA2_Channel4_IRQn);

}

static void MX_GPIO_Init(void)
{
  GPIO_InitTypeDef GPIO_InitStruct = {0};

  /* GPIO Ports Clock Enable */
  __HAL_RCC_GPIOC_CLK_ENABLE();
  __HAL_RCC_GPIOA_CLK_ENABLE();
  __HAL_RCC_GPIOB_CLK_ENABLE();
  __HAL_RCC_GPIOH_CLK_ENABLE();

  /*Configure GPIO pin Output Level */
  HAL_GPIO_WritePin(GPIOA, PTT_M_Pin|PTT_S_Pin, GPIO_PIN_RESET);

  /*Configure GPIO pin Output Level */
  HAL_GPIO_WritePin(AUDIO_OUT_ATTEN_GPIO_Port, AUDIO_OUT_ATTEN_Pin, GPIO_PIN_SET);

  /*Configure GPIO pin : PA6 */
  GPIO_InitStruct.Pin = GPIO_PIN_6;
  GPIO_InitStruct.Mode = GPIO_MODE_ANALOG;
  GPIO_InitStruct.Pull = GPIO_NOPULL;
  HAL_GPIO_Init(GPIOA, &GPIO_InitStruct);

  /*Configure GPIO pins : PB0 PB6 PB7 */
  GPIO_InitStruct.Pin = GPIO_PIN_0|GPIO_PIN_6|GPIO_PIN_7;
  GPIO_InitStruct.Mode = GPIO_MODE_ANALOG;
  GPIO_InitStruct.Pull = GPIO_NOPULL;
  HAL_GPIO_Init(GPIOB, &GPIO_InitStruct);

  /*Configure GPIO pin : BUTTON_AUDIO_IN_ADJUST_Pin */
  GPIO_InitStruct.Pin = BUTTON_AUDIO_IN_ADJUST_Pin;
  GPIO_InitStruct.Mode = GPIO_MODE_IT_FALLING;
  GPIO_InitStruct.Pull = GPIO_PULLUP;
  HAL_GPIO_Init(BUTTON_AUDIO_IN_ADJUST_GPIO_Port, &GPIO_InitStruct);

  /*Configure GPIO pins : PTT_M_Pin PTT_S_Pin */
  GPIO_InitStruct.Pin = PTT_M_Pin|PTT_S_Pin;
  GPIO_InitStruct.Mode = GPIO_MODE_OUTPUT_PP;
  GPIO_InitStruct.Pull = GPIO_NOPULL;
  GPIO_InitStruct.Speed = GPIO_SPEED_FREQ_LOW;
  HAL_GPIO_Init(GPIOA, &GPIO_InitStruct);

  /*Configure GPIO pin : AUDIO_OUT_ATTEN_Pin */
  GPIO_InitStruct.Pin = AUDIO_OUT_ATTEN_Pin;
  GPIO_InitStruct.Mode = GPIO_MODE_OUTPUT_OD;
  GPIO_InitStruct.Pull = GPIO_NOPULL;
  GPIO_InitStruct.Speed = GPIO_SPEED_FREQ_LOW;
  HAL_GPIO_Init(AUDIO_OUT_ATTEN_GPIO_Port, &GPIO_InitStruct);

  /*Configure GPIO pin : PH3 */
  GPIO_InitStruct.Pin = GPIO_PIN_3;
  GPIO_InitStruct.Mode = GPIO_MODE_ANALOG;
  GPIO_InitStruct.Pull = GPIO_NOPULL;
  HAL_GPIO_Init(GPIOH, &GPIO_InitStruct);

  /* EXTI interrupt init*/
  HAL_NVIC_SetPriority(EXTI1_IRQn, 5, 0);
  HAL_NVIC_EnableIRQ(EXTI1_IRQn);

}

/* USER CODE BEGIN 4 */

#if 1
_ssize_t _write_r(struct _reent *r, int fd, const void *ptr, size_t len);

_ssize_t _write_r(struct _reent *r, int fd, const void *ptr, size_t len)
{
  UNUSED(r);
  UNUSED(fd);
#ifdef KISS_LOGGING
    for (size_t i = 0; i != len; ++i)
      ITM_SendChar(((char*) ptr)[i]);
#endif
  return len;
}

int _write(int file, char *ptr, int len);

int _write(int file, char *ptr, int len) {
    UNUSED(file);
#ifdef KISS_LOGGING
    for (int i = 0; i != len; ++i)
      ITM_SendChar(ptr[i]);
#endif
    return len;

}
#endif

void SysClock48()
{
    RCC_OscInitTypeDef RCC_OscInitStruct;
    RCC_ClkInitTypeDef RCC_ClkInitStruct;
    RCC_PeriphCLKInitTypeDef PeriphClkInit;

    if (HAL_RCC_GetHCLKFreq() == 48000000) return;

    INFO("Setting 48MHz SysClock.");

    taskENTER_CRITICAL();

    RCC_ClkInitStruct.ClockType = RCC_CLOCKTYPE_SYSCLK;
    RCC_ClkInitStruct.SYSCLKSource = RCC_SYSCLKSOURCE_HSI;

    if (HAL_RCC_ClockConfig(&RCC_ClkInitStruct, FLASH_LATENCY_0) != HAL_OK)
    {
      _Error_Handler(__FILE__, __LINE__);
    }

    TPI->ACPR = 7;

    /**Configure the Systick interrupt time
    */
    HAL_SYSTICK_Config(HAL_RCC_GetHCLKFreq()/1000);

    __HAL_RCC_PLLSAI1_DISABLE();

    RCC_OscInitStruct.OscillatorType = RCC_OSCILLATORTYPE_MSI;
    RCC_OscInitStruct.MSIState = RCC_MSI_ON;
    RCC_OscInitStruct.MSICalibrationValue = RCC_MSICALIBRATION_DEFAULT;
    RCC_OscInitStruct.MSIClockRange = RCC_MSIRANGE_11;
    RCC_OscInitStruct.PLL.PLLState = RCC_PLL_ON;
    RCC_OscInitStruct.PLL.PLLSource = RCC_PLLSOURCE_MSI;
    RCC_OscInitStruct.PLL.PLLM = 4;
    RCC_OscInitStruct.PLL.PLLN = 8;
    RCC_OscInitStruct.PLL.PLLP = RCC_PLLP_DIV7;
    RCC_OscInitStruct.PLL.PLLQ = RCC_PLLQ_DIV2;
    RCC_OscInitStruct.PLL.PLLR = RCC_PLLR_DIV2;
    if (HAL_RCC_OscConfig(&RCC_OscInitStruct) != HAL_OK)
    {
      _Error_Handler(__FILE__, __LINE__);
    }

    RCC_ClkInitStruct.ClockType = RCC_CLOCKTYPE_SYSCLK;
    RCC_ClkInitStruct.SYSCLKSource = RCC_SYSCLKSOURCE_MSI;

/*
    PeriphClkInit.PeriphClockSelection = RCC_PERIPHCLK_ADC;
    PeriphClkInit.AdcClockSelection = RCC_ADCCLKSOURCE_PLLSAI1;
    PeriphClkInit.PLLSAI1.PLLSAI1Source = RCC_PLLSOURCE_MSI;
    PeriphClkInit.PLLSAI1.PLLSAI1M = 4;
    PeriphClkInit.PLLSAI1.PLLSAI1N = 24;
    PeriphClkInit.PLLSAI1.PLLSAI1P = RCC_PLLP_DIV7;
    PeriphClkInit.PLLSAI1.PLLSAI1Q = RCC_PLLQ_DIV6;
    PeriphClkInit.PLLSAI1.PLLSAI1R = RCC_PLLR_DIV4;
    PeriphClkInit.PLLSAI1.PLLSAI1ClockOut = RCC_PLLSAI1_ADC1CLK;
    if (HAL_RCCEx_PeriphCLKConfig(&PeriphClkInit) != HAL_OK)
    {
      _Error_Handler(__FILE__, __LINE__);
    }
*/

    if (HAL_RCC_ClockConfig(&RCC_ClkInitStruct, FLASH_LATENCY_2) != HAL_OK)
    {
      _Error_Handler(__FILE__, __LINE__);
    }

    HAL_RCCEx_EnableMSIPLLMode();
    if ((RCC->CR & RCC_CR_MSIPLLEN) == 0) printf("MSI PLL Failed\r\n");

    TPI->ACPR = 23;

    /**Configure the Systick interrupt time
    */
    HAL_SYSTICK_Config(HAL_RCC_GetHCLKFreq()/1000);
    taskEXIT_CRITICAL();
}

void SysClock72()
{
    RCC_OscInitTypeDef RCC_OscInitStruct;
    RCC_ClkInitTypeDef RCC_ClkInitStruct;
    RCC_PeriphCLKInitTypeDef PeriphClkInit;

    if (HAL_RCC_GetHCLKFreq() == 72000000) return;

    INFO("Setting 72MHz SysClock.");

    taskENTER_CRITICAL();

    HAL_RCCEx_DisableMSIPLLMode();

    RCC_ClkInitStruct.ClockType = RCC_CLOCKTYPE_SYSCLK;
    RCC_ClkInitStruct.SYSCLKSource = RCC_SYSCLKSOURCE_HSI;

    if (HAL_RCC_ClockConfig(&RCC_ClkInitStruct, FLASH_LATENCY_0) != HAL_OK)
    {
      _Error_Handler(__FILE__, __LINE__);
    }

    TPI->ACPR = 7;

    /**Configure the Systick interrupt time
    */
    HAL_SYSTICK_Config(HAL_RCC_GetHCLKFreq()/1000);

    __HAL_RCC_PLLSAI1_DISABLE();

    RCC_OscInitStruct.OscillatorType = RCC_OSCILLATORTYPE_MSI;
    RCC_OscInitStruct.MSIState = RCC_MSI_ON;
    RCC_OscInitStruct.MSICalibrationValue = RCC_MSICALIBRATION_DEFAULT;
    RCC_OscInitStruct.MSIClockRange = RCC_MSIRANGE_11;
    RCC_OscInitStruct.PLL.PLLState = RCC_PLL_ON;
    RCC_OscInitStruct.PLL.PLLSource = RCC_PLLSOURCE_MSI;
    RCC_OscInitStruct.PLL.PLLM = 4;
    RCC_OscInitStruct.PLL.PLLN = 12;
    RCC_OscInitStruct.PLL.PLLP = RCC_PLLP_DIV7;
    RCC_OscInitStruct.PLL.PLLQ = RCC_PLLQ_DIV2;
    RCC_OscInitStruct.PLL.PLLR = RCC_PLLR_DIV2;
    if (HAL_RCC_OscConfig(&RCC_OscInitStruct) != HAL_OK)
    {
      _Error_Handler(__FILE__, __LINE__);
    }

    RCC_ClkInitStruct.ClockType = RCC_CLOCKTYPE_SYSCLK;
    RCC_ClkInitStruct.SYSCLKSource = RCC_SYSCLKSOURCE_PLLCLK;

    if (HAL_RCC_ClockConfig(&RCC_ClkInitStruct, FLASH_LATENCY_4) != HAL_OK)
    {
      _Error_Handler(__FILE__, __LINE__);
    }

    TPI->ACPR = 35;

/*
    PeriphClkInit.PeriphClockSelection = RCC_PERIPHCLK_ADC;
    PeriphClkInit.AdcClockSelection = RCC_ADCCLKSOURCE_PLLSAI1;
    PeriphClkInit.PLLSAI1.PLLSAI1Source = RCC_PLLSOURCE_MSI;
    PeriphClkInit.PLLSAI1.PLLSAI1M = 4;
    PeriphClkInit.PLLSAI1.PLLSAI1N = 24;
    PeriphClkInit.PLLSAI1.PLLSAI1P = RCC_PLLP_DIV7;
    PeriphClkInit.PLLSAI1.PLLSAI1Q = RCC_PLLQ_DIV6;
    PeriphClkInit.PLLSAI1.PLLSAI1R = RCC_PLLR_DIV4;
    PeriphClkInit.PLLSAI1.PLLSAI1ClockOut = RCC_PLLSAI1_ADC1CLK;
    if (HAL_RCCEx_PeriphCLKConfig(&PeriphClkInit) != HAL_OK)
    {
      _Error_Handler(__FILE__, __LINE__);
    }
*/

    HAL_RCCEx_EnableMSIPLLMode();
    if ((RCC->CR & RCC_CR_MSIPLLEN) == 0) printf("MSI PLL Failed\r\n");

    /**Configure the Systick interrupt time
    */
    HAL_SYSTICK_Config(HAL_RCC_GetHCLKFreq()/1000);
    taskEXIT_CRITICAL();
}

void _Error_Handler(char const* file, uint32_t line)
{
  snprintf(error_message, sizeof(error_message), "Error: %s:%d\r\n", file, (int) line);
  error_message[sizeof(error_message) - 1] = 0;

  NVIC_SystemReset();
}

void _Error_Handler2(char *file, int line, HAL_StatusTypeDef status)
{
#ifdef KISS_LOGGING
  printf("Error handler called from file %s on line %d\r\n", file, line);
#endif
  snprintf(error_message, sizeof(error_message), "Error: %s:%d, status = %d\r\n", file, line, status);
  error_message[sizeof(error_message) - 1] = 0;

  NVIC_SystemReset();
}

/* USER CODE END 4 */

__weak void startIOEventTask(void const * argument)
{
  /* USER CODE BEGIN 5 */
  UNUSED(argument);
  /* Infinite loop */
  for(;;)
  {
    osDelay(osWaitForever);
  }
  /* USER CODE END 5 */
}

void HAL_TIM_PeriodElapsedCallback(TIM_HandleTypeDef *htim)
{
  if (htim->Instance == TIM2) {
    HAL_IncTick();
  }
  /* USER CODE BEGIN Callback 1 */
  if (htim->Instance == TIM1) {
    LED_TIMER_PeriodElapsedCallback();
  }

  /* USER CODE END Callback 1 */
}

void Error_Handler(void)
{
}

#ifdef  USE_FULL_ASSERT
/**
  * @brief  Reports the name of the source file and the source line number
  *         where the assert_param error has occurred.
  * @param  file: pointer to the source file name
  * @param  line: assert_param error line source number
  * @retval None
  */
void assert_failed(uint8_t *file, uint32_t line)
{
  /* USER CODE BEGIN 6 */
    _Error_Handler((char const*) file, line);
  /* User can add his own implementation to report the file name and line number,
     tex: printf("Wrong parameters value: file %s on line %d\r\n", file, line) */
  /* USER CODE END 6 */
}
#endif /* USE_FULL_ASSERT */

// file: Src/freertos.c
/* USER CODE BEGIN Header */
/**
  ******************************************************************************
  * File Name          : freertos.c
  * Description        : Code for freertos applications
  ******************************************************************************
  * This notice applies to any and all portions of this file
  * that are not between comment pairs USER CODE BEGIN and
  * USER CODE END. Other portions of this file, whether
  * inserted by the user or by software development tools
  * are owned by their respective copyright owners.
  *
  * Copyright (c) 2021 STMicroelectronics International N.V.
  * All rights reserved.
  *
  * Redistribution and use in source and binary forms, with or without
  * modification, are permitted, provided that the following conditions are met:
  *
  * 1. Redistribution of source code must retain the above copyright notice,
  *    this list of conditions and the following disclaimer.
  * 2. Redistributions in binary form must reproduce the above copyright notice,
  *    this list of conditions and the following disclaimer in the documentation
  *    and/or other materials provided with the distribution.
  * 3. Neither the name of STMicroelectronics nor the names of other
  *    contributors to this software may be used to endorse or promote products
  *    derived from this software without specific written permission.
  * 4. This software, including modifications and/or derivative works of this
  *    software, must execute solely and exclusively on microcontroller or
  *    microprocessor devices manufactured by or for STMicroelectronics.
  * 5. Redistribution and use of this software other than as permitted under
  *    this license is void and will automatically terminate your rights under
  *    this license.
  *
  * THIS SOFTWARE IS PROVIDED BY STMICROELECTRONICS AND CONTRIBUTORS "AS IS"
  * AND ANY EXPRESS, IMPLIED OR STATUTORY WARRANTIES, INCLUDING, BUT NOT
  * LIMITED TO, THE IMPLIED WARRANTIES OF MERCHANTABILITY, FITNESS FOR A
  * PARTICULAR PURPOSE AND NON-INFRINGEMENT OF THIRD PARTY INTELLECTUAL PROPERTY
  * RIGHTS ARE DISCLAIMED TO THE FULLEST EXTENT PERMITTED BY LAW. IN NO EVENT
  * SHALL STMICROELECTRONICS OR CONTRIBUTORS BE LIABLE FOR ANY DIRECT, INDIRECT,
  * INCIDENTAL, SPECIAL, EXEMPLARY, OR CONSEQUENTIAL DAMAGES (INCLUDING, BUT NOT
  * LIMITED TO, PROCUREMENT OF SUBSTITUTE GOODS OR SERVICES; LOSS OF USE, DATA,
  * OR PROFITS; OR BUSINESS INTERRUPTION) HOWEVER CAUSED AND ON ANY THEORY OF
  * LIABILITY, WHETHER IN CONTRACT, STRICT LIABILITY, OR TORT (INCLUDING
  * NEGLIGENCE OR OTHERWISE) ARISING IN ANY WAY OUT OF THE USE OF THIS SOFTWARE,
  * EVEN IF ADVISED OF THE POSSIBILITY OF SUCH DAMAGE.
  *
  ******************************************************************************
  */
/* USER CODE END Header */

#include "FreeRTOS.h"
#include "task.h"
#include "main.h"

/* USER CODE BEGIN Includes */
#include "main.h"

/* USER CODE END Includes */

/* GetIdleTaskMemory prototype (linked to static allocation support) */
void vApplicationGetIdleTaskMemory( StaticTask_t **ppxIdleTaskTCBBuffer, StackType_t **ppxIdleTaskStackBuffer, uint32_t *pulIdleTaskStackSize );

/* GetTimerTaskMemory prototype (linked to static allocation support) */
void vApplicationGetTimerTaskMemory( StaticTask_t **ppxTimerTaskTCBBuffer, StackType_t **ppxTimerTaskStackBuffer, uint32_t *pulTimerTaskStackSize );

/* Hook prototypes */
void vApplicationStackOverflowHook(xTaskHandle xTask, signed char *pcTaskName);
void vApplicationMallocFailedHook(void);

/* USER CODE BEGIN 4 */
__weak void vApplicationStackOverflowHook(xTaskHandle xTask, signed char *pcTaskName)
{
   /* Run time stack overflow checking is performed if
   configCHECK_FOR_STACK_OVERFLOW is defined to 1 or 2. This hook function is
   called if a stack overflow is detected. */
    Error_Handler();
}
/* USER CODE END 4 */

/* USER CODE BEGIN 5 */
__weak void vApplicationMallocFailedHook(void)
{
   /* vApplicationMallocFailedHook() will only be called if
   configUSE_MALLOC_FAILED_HOOK is set to 1 in FreeRTOSConfig.h. It is a hook
   function that will get called if a call to pvPortMalloc() fails.
   pvPortMalloc() is called internally by the kernel whenever a task, queue,
   timer or semaphore is created. It is also called by various parts of the
   demo application. If heap_1.c or heap_2.c are used, then the size of the
   heap available to pvPortMalloc() is defined by configTOTAL_HEAP_SIZE in
   FreeRTOSConfig.h, and the xPortGetFreeHeapSize() API function can be used
   to query the size of free heap space that remains (although it does not
   provide information on how the remaining heap might be fragmented). */
}
/* USER CODE END 5 */

/* USER CODE BEGIN VPORT_SUPPORT_TICKS_AND_SLEEP */
__weak void vPortSuppressTicksAndSleep( TickType_t xExpectedIdleTime )
{
  // Generated when configUSE_TICKLESS_IDLE == 2.
  // Function called in tasks.c (in portTASK_FUNCTION).
  // TO BE COMPLETED or TO BE REPLACED by a user one, overriding that weak one.
}
/* USER CODE END VPORT_SUPPORT_TICKS_AND_SLEEP */

/* USER CODE BEGIN GET_IDLE_TASK_MEMORY */
static StaticTask_t xIdleTaskTCBBuffer;
static StackType_t xIdleStack[configMINIMAL_STACK_SIZE];

void vApplicationGetIdleTaskMemory( StaticTask_t **ppxIdleTaskTCBBuffer, StackType_t **ppxIdleTaskStackBuffer, uint32_t *pulIdleTaskStackSize )
{
  *ppxIdleTaskTCBBuffer = &xIdleTaskTCBBuffer;
  *ppxIdleTaskStackBuffer = &xIdleStack[0];
  *pulIdleTaskStackSize = configMINIMAL_STACK_SIZE;
  /* place for user code */
}
/* USER CODE END GET_IDLE_TASK_MEMORY */

/* USER CODE BEGIN GET_TIMER_TASK_MEMORY */
static StaticTask_t xTimerTaskTCBBuffer;
static StackType_t xTimerStack[configTIMER_TASK_STACK_DEPTH];

void vApplicationGetTimerTaskMemory( StaticTask_t **ppxTimerTaskTCBBuffer, StackType_t **ppxTimerTaskStackBuffer, uint32_t *pulTimerTaskStackSize )
{
  *ppxTimerTaskTCBBuffer = &xTimerTaskTCBBuffer;
  *ppxTimerTaskStackBuffer = &xTimerStack[0];
  *pulTimerTaskStackSize = configTIMER_TASK_STACK_DEPTH;
  /* place for user code */
}
/* USER CODE END GET_TIMER_TASK_MEMORY */
